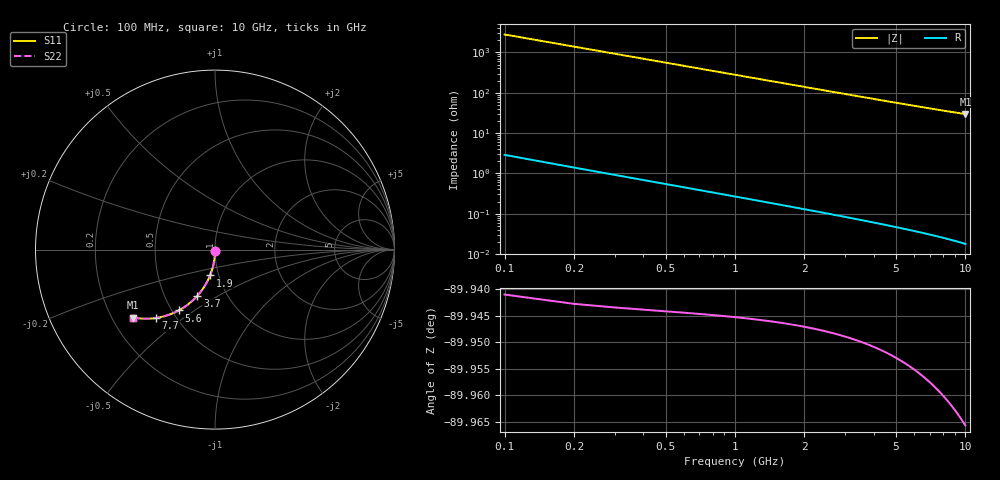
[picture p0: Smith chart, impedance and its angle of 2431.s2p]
# Hz S RI R 50.00
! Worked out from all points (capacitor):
!   100 points, 100 MHz to 10 GHz, reference 50 ohm
!   read as one part in shunt: C = 570 fF near 100 MHz
!   lowest |Z| = 29.6 ohm at 10 GHz (marker M1)
!   S11 on the Smith chart (normalised r, x): 100 MHz: 1.00, -0.02; 1.9 GHz: 0.91, -0.27; 3.7 GHz: 0.73, -0.40; 5.6 GHz: 0.54, -0.43; 7.7 GHz: 0.39, -0.40; 10 GHz: 0.29, -0.33
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1e8  0.00033 -0.0078  0.9995 -0.0101  0.9995 -0.0101  0.00033 -0.0078
2e8  8.72e-05 -0.0156  0.9992 -0.0202  0.9992 -0.0202  8.72e-05 -0.0156
3e8  -0.000314 -0.0234  0.9988 -0.0303  0.9988 -0.0303  -0.000314 -0.0234
4e8  -0.000872 -0.0312  0.9982 -0.0404  0.9982 -0.0404  -0.000872 -0.0312
5e8  -0.00159 -0.0389  0.9975 -0.0505  0.9975 -0.0505  -0.00159 -0.0389
6e8  -0.00246 -0.0467  0.9966 -0.0606  0.9966 -0.0606  -0.00246 -0.0467
8e8  -0.00467 -0.0621  0.9943 -0.0806  0.9943 -0.0806  -0.00467 -0.0621
1.1e9  -0.00914 -0.0849  0.9897 -0.1104  0.9897 -0.1104  -0.00914 -0.0849
1.4e9  -0.015 -0.1074  0.9836 -0.1399  0.9836 -0.1399  -0.015 -0.1074
1.8e9  -0.0247 -0.1366  0.9735 -0.1784  0.9735 -0.1784  -0.0247 -0.1366
1.9e9  -0.0275 -0.1437  0.9706 -0.1878  0.9706 -0.1878  -0.0275 -0.1437
2.2e9  -0.0367 -0.1647  0.9611 -0.2158  0.9611 -0.2158  -0.0367 -0.1647
2.6e9  -0.0508 -0.1916  0.9465 -0.252  0.9465 -0.252  -0.0508 -0.1916
3.4e9  -0.0843 -0.2407  0.9117 -0.3199  0.9117 -0.3199  -0.0843 -0.2407
3.7e9  -0.0985 -0.2574  0.8969 -0.3436  0.8969 -0.3436  -0.0985 -0.2574
4.4e9  -0.1344 -0.2925  0.8594 -0.3952  0.8594 -0.3952  -0.1344 -0.2925
5.1e9  -0.1733 -0.3217  0.8186 -0.4411  0.8186 -0.4411  -0.1733 -0.3217
5.6e9  -0.2023 -0.3391  0.7881 -0.4704  0.7881 -0.4704  -0.2023 -0.3391
6.7e9  -0.268 -0.3669  0.7185 -0.5248  0.7185 -0.5248  -0.268 -0.3669
7.7e9  -0.3276 -0.3808  0.6547 -0.5631  0.6547 -0.5631  -0.3276 -0.3808
8.4e9  -0.3682 -0.3847  0.6107 -0.5843  0.6107 -0.5843  -0.3682 -0.3847
1e10  -0.455 -0.3786  0.5147 -0.6184  0.5147 -0.6184  -0.455 -0.3786
